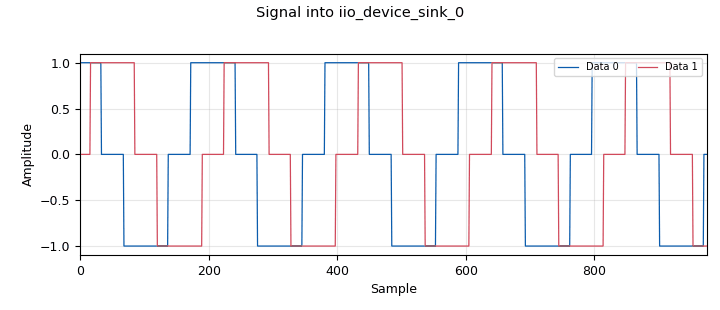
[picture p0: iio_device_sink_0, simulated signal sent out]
options:
  parameters:
    generate_options: qt_gui
    id: top_block
    output_language: python
    title: ECE531_Lab2_Loopback_IIO
  states: {}

blocks:
- name: samp_rate
  id: variable
  parameters:
    value: '2084000'
  states: {}
- name: variable_qtgui_range_0
  id: variable_qtgui_range
  parameters:
    label: '"Sine Source Frequency"'
    start: '1'
    step: '1000'
    stop: '100000'
    value: '10000'
  states: {}
- name: variable_qtgui_range_1
  id: variable_qtgui_range
  parameters:
    label: '"RX Manual Gain"'
    rangeType: int
    start: '10'
    step: '1'
    stop: '71'
    value: '20'
  states: {}
- name: analog_sig_source_x_0
  id: analog_sig_source_x
  parameters:
    amp: '1'
    freq: variable_qtgui_range_0
    offset: '0'
    phase: '0'
    samp_rate: samp_rate
    type: complex
    waveform: analog.GR_COS_WAVE
  states: {}
- name: blocks_complex_to_float_0
  id: blocks_complex_to_float
  parameters: {}
  states: {}
- name: blocks_float_to_complex_0
  id: blocks_float_to_complex
  parameters: {}
  states: {}
- name: blocks_float_to_short_0
  id: blocks_float_to_short
  parameters:
    scale: '1'
  states: {}
- name: blocks_float_to_short_0_0
  id: blocks_float_to_short
  parameters:
    scale: '1'
  states: {}
- name: blocks_short_to_float_0
  id: blocks_short_to_float
  parameters:
    scale: '1'
  states: {}
- name: blocks_short_to_float_1
  id: blocks_short_to_float
  parameters:
    scale: '1'
  states: {}
- name: iio_device_sink_0
  id: iio_device_sink
  parameters:
    buffer_size: '32768'
    channels: '[''voltage0'',''voltage1'']'
    cyclic: 'False'
    device: '''cf-ad9361-dds-core-lpc'''
    device_phy: '''ad9361-phy'''
    interpolation: '1'
    params: '[]'
    uri: '''ip:192.168.2.1'''
  states: {}
- name: iio_device_source_0
  id: iio_device_source
  parameters:
    buffer_size: '32768'
    channels: '[''voltage0'', ''voltage1'']'
    decimation: '1'
    device: '''cf-ad9361-lpc'''
    device_phy: '''ad9361-phy'''
    params: '[''in_voltage0_gain_control_mode=manual'', ''in_voltage0_hardwaregain=20'',''in_voltage_sampling_frequency=4166000'']'
    uri: '''ip:192.168.2.1'''
  states: {}
- name: qtgui_sink_x_0
  id: qtgui_sink_x
  parameters:
    bw: samp_rate
    fc: '0'
    fftsize: '1024'
    type: complex
  states: {}

connections:
- [analog_sig_source_x_0, '0', blocks_complex_to_float_0, '0']
- [blocks_complex_to_float_0, '0', blocks_float_to_short_0_0, '0']
- [blocks_complex_to_float_0, '1', blocks_float_to_short_0, '0']
- [blocks_float_to_complex_0, '0', qtgui_sink_x_0, '0']
- [blocks_float_to_short_0, '0', iio_device_sink_0, '1']
- [blocks_float_to_short_0_0, '0', iio_device_sink_0, '0']
- [blocks_short_to_float_0, '0', blocks_float_to_complex_0, '0']
- [blocks_short_to_float_1, '0', blocks_float_to_complex_0, '1']
- [iio_device_source_0, '0', blocks_short_to_float_0, '0']
- [iio_device_source_0, '1', blocks_short_to_float_1, '0']

metadata:
  file_format: 1
  grc_version: 3.10.9.2
